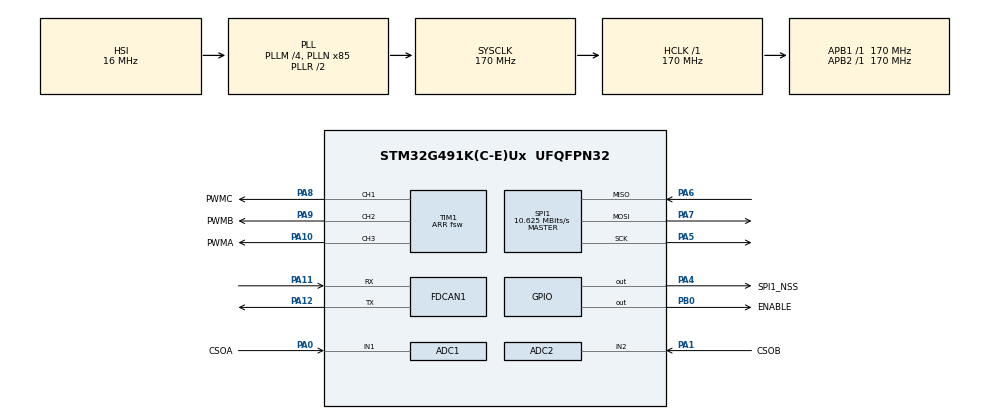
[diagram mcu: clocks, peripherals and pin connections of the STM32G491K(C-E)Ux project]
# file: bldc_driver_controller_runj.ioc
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ADC1.Channel-1\#ChannelRegularConversion=ADC_CHANNEL_1
ADC1.ContinuousConvMode=ENABLE
ADC1.DMAContinuousRequests=ENABLE
ADC1.NbrOfConversionFlag=1
ADC1.OffsetNumber-1\#ChannelRegularConversion=ADC_OFFSET_NONE
ADC1.Rank-1\#ChannelRegularConversion=1
ADC1.SamplingTime-1\#ChannelRegularConversion=ADC_SAMPLETIME_640CYCLES_5
ADC1.master=1
ADC2.Channel-1\#ChannelRegularConversion=ADC_CHANNEL_2
ADC2.ContinuousConvMode=ENABLE
ADC2.DMAContinuousRequests=ENABLE
ADC2.NbrOfConversionFlag=1
ADC2.OffsetNumber-1\#ChannelRegularConversion=ADC_OFFSET_NONE
ADC2.Rank-1\#ChannelRegularConversion=1
ADC2.SamplingTime-1\#ChannelRegularConversion=ADC_SAMPLETIME_640CYCLES_5
Dma.ADC1.0.Direction=DMA_PERIPH_TO_MEMORY
Dma.ADC1.0.EventEnable=DISABLE
Dma.ADC1.0.Instance=DMA1_Channel1
Dma.ADC1.0.MemDataAlignment=DMA_MDATAALIGN_HALFWORD
Dma.ADC1.0.MemInc=DMA_MINC_ENABLE
Dma.ADC1.0.Mode=DMA_CIRCULAR
Dma.ADC1.0.PeriphDataAlignment=DMA_PDATAALIGN_HALFWORD
Dma.ADC1.0.PeriphInc=DMA_PINC_DISABLE
Dma.ADC1.0.Polarity=HAL_DMAMUX_REQ_GEN_RISING
Dma.ADC1.0.Priority=DMA_PRIORITY_LOW
Dma.ADC1.0.RequestNumber=1
Dma.ADC1.0.SignalID=NONE
Dma.ADC1.0.SyncEnable=DISABLE
Dma.ADC1.0.SyncPolarity=HAL_DMAMUX_SYNC_NO_EVENT
Dma.ADC1.0.SyncRequestNumber=1
Dma.ADC1.0.SyncSignalID=NONE
Dma.ADC2.1.Direction=DMA_PERIPH_TO_MEMORY
Dma.ADC2.1.EventEnable=DISABLE
Dma.ADC2.1.Instance=DMA1_Channel2
Dma.ADC2.1.MemDataAlignment=DMA_MDATAALIGN_HALFWORD
Dma.ADC2.1.MemInc=DMA_MINC_ENABLE
Dma.ADC2.1.Mode=DMA_CIRCULAR
Dma.ADC2.1.PeriphDataAlignment=DMA_PDATAALIGN_HALFWORD
Dma.ADC2.1.PeriphInc=DMA_PINC_DISABLE
Dma.ADC2.1.Polarity=HAL_DMAMUX_REQ_GEN_RISING
Dma.ADC2.1.Priority=DMA_PRIORITY_LOW
Dma.ADC2.1.RequestNumber=1
Dma.ADC2.1.SignalID=NONE
Dma.ADC2.1.SyncEnable=DISABLE
Dma.ADC2.1.SyncPolarity=HAL_DMAMUX_SYNC_NO_EVENT
Dma.ADC2.1.SyncRequestNumber=1
Dma.ADC2.1.SyncSignalID=NONE
Dma.Request0=ADC1
Dma.Request1=ADC2
FDCAN1.CalculateBaudRateNominal=999999
FDCAN1.CalculateTimeQuantumNominal=11.764705882352942
FDCAN1.DataPrescaler=DataPS
FDCAN1.DataSyncJumpWidth=15
FDCAN1.DataTimeSeg1=18
FDCAN1.DataTimeSeg2=15
FDCAN1.NominalPrescaler=NomPS
FDCAN1.NominalSyncJumpWidth=11
FDCAN1.NominalTimeSeg1=73
FDCAN1.NominalTimeSeg2=11
FDCAN1.StdFiltersNbr=10
Mcu.Family=STM32G4
Mcu.Name=STM32G491K(C-E)Ux
Mcu.Package=UFQFPN32
Mcu.UserConstants=NomPS,2;DataPS500k,10;DataPS1M,5;NomPS500k,4;fsw,3600;fsw10kHz,9000;DataPS,5;fsw40kHz,2250;NomPS1M,2;fsw50kHz,1800;fsw25kHz,3600
NVIC.ADC1_2_IRQn=true\:0\:0\:false\:false\:true\:true\:true\:true
NVIC.DMA1_Channel1_IRQn=true\:0\:0\:false\:false\:true\:false\:true\:true
NVIC.DMA1_Channel2_IRQn=true\:0\:0\:false\:false\:true\:false\:true\:true
NVIC.FDCAN1_IT0_IRQn=true\:0\:0\:false\:false\:true\:true\:true\:true
NVIC.PriorityGroup=NVIC_PRIORITYGROUP_4
NVIC.TIM1_CC_IRQn=true\:0\:0\:false\:false\:true\:true\:true\:true
NVIC.TIM2_IRQn=true\:0\:0\:false\:false\:true\:true\:true\:true
PA0.GPIO_Label=CSOA
PA0.Mode=IN1-Single-Ended
PA0.Signal=ADC1_IN1
PA1.GPIO_Label=CSOB
PA1.Mode=IN2-Single-Ended
PA1.Signal=ADC2_IN2
PA10.GPIO_Label=PWMA
PA10.GPIO_Speed=GPIO_SPEED_FREQ_VERY_HIGH
PA10.Signal=S_TIM1_CH3
PA11.Mode=FDCAN_Activate
PA11.Signal=FDCAN1_RX
PA12.Mode=FDCAN_Activate
PA12.Signal=FDCAN1_TX
PA13.Mode=Serial_Wire
PA13.Signal=SYS_JTMS-SWDIO
PA14.Mode=Serial_Wire
PA14.Signal=SYS_JTCK-SWCLK
PA4.GPIO_Label=SPI1_NSS
PA4.Signal=GPIO_Output
PA5.GPIO_Speed=GPIO_SPEED_FREQ_HIGH
PA5.Mode=Full_Duplex_Master
PA5.Signal=SPI1_SCK
PA6.GPIO_Mode=GPIO_MODE_AF_PP
PA6.GPIO_Speed=GPIO_SPEED_FREQ_HIGH
PA6.Mode=Full_Duplex_Master
PA6.Signal=SPI1_MISO
PA7.GPIO_Speed=GPIO_SPEED_FREQ_HIGH
PA7.Mode=Full_Duplex_Master
PA7.Signal=SPI1_MOSI
PA8.GPIO_Label=PWMC
PA8.GPIO_Speed=GPIO_SPEED_FREQ_VERY_HIGH
PA8.Signal=S_TIM1_CH1
PA9.GPIO_Label=PWMB
PA9.GPIO_Speed=GPIO_SPEED_FREQ_VERY_HIGH
PA9.Signal=S_TIM1_CH2
PB0.GPIO_Label=ENABLE
PB0.Signal=GPIO_Output
PF0-OSC_IN.Mode=HSE-External-Oscillator
PF0-OSC_IN.Signal=RCC_OSC_IN
PF1-OSC_OUT.Mode=HSE-External-Oscillator
PF1-OSC_OUT.Signal=RCC_OSC_OUT
ProjectManager.HeapSize=0x200
ProjectManager.StackSize=0x400
ProjectManager.TargetToolchain=STM32CubeIDE
RCC.ADC12Freq_Value=170000000
RCC.ADC345Freq_Value=170000000
RCC.AHBFreq_Value=170000000
RCC.APB1Freq_Value=170000000
RCC.APB1TimFreq_Value=170000000
RCC.APB2Freq_Value=170000000
RCC.APB2TimFreq_Value=170000000
RCC.CortexFreq_Value=170000000
RCC.EXTERNAL_CLOCK_VALUE=12288000
RCC.HCLKFreq_Value=170000000
RCC.HSE_VALUE=8000000
RCC.HSI48_VALUE=48000000
RCC.HSI_VALUE=16000000
RCC.LSE_VALUE=32768
RCC.PLLM=RCC_PLLM_DIV4
RCC.PLLN=85
RCC.SYSCLKFreq_VALUE=170000000
RCC.SYSCLKSource=RCC_SYSCLKSOURCE_PLLCLK
RCC.USBFreq_Value=48000000
RCC.VCOOutputFreq_Value=340000000
SH.S_TIM1_CH1.0=TIM1_CH1,PWM Generation1 CH1
SH.S_TIM1_CH2.0=TIM1_CH2,PWM Generation2 CH2
SH.S_TIM1_CH3.0=TIM1_CH3,PWM Generation3 CH3
SPI1.BaudRatePrescaler=SPI_BAUDRATEPRESCALER_16
SPI1.CLKPhase=SPI_PHASE_2EDGE
SPI1.CLKPolarity=SPI_POLARITY_LOW
SPI1.CalculateBaudRate=10.625 MBits/s
SPI1.DataSize=SPI_DATASIZE_16BIT
SPI1.Direction=SPI_DIRECTION_2LINES
SPI1.Mode=SPI_MODE_MASTER
SPI1.VirtualType=VM_MASTER
TIM1.AutoReloadPreload=TIM_AUTORELOAD_PRELOAD_ENABLE
TIM1.Channel-Output\ Compare5\ No\ Output=TIM_CHANNEL_5
TIM1.Channel-PWM\ Generation1\ CH1=TIM_CHANNEL_1
TIM1.Channel-PWM\ Generation2\ CH2=TIM_CHANNEL_2
TIM1.Channel-PWM\ Generation3\ CH3=TIM_CHANNEL_3
TIM1.CounterMode=TIM_COUNTERMODE_CENTERALIGNED1
TIM1.OC5Preload=ENABLE
TIM1.OCFastMode_PWM-PWM\ Generation1\ CH1=TIM_OCFAST_ENABLE
TIM1.OCFastMode_PWM-PWM\ Generation2\ CH2=TIM_OCFAST_ENABLE
TIM1.OCFastMode_PWM-PWM\ Generation3\ CH3=TIM_OCFAST_ENABLE
TIM1.OCMode_5=TIM_OCMODE_TIMING
TIM1.OCPolarity_1=TIM_OCPOLARITY_LOW
TIM1.OCPolarity_2=TIM_OCPOLARITY_LOW
TIM1.OCPolarity_3=TIM_OCPOLARITY_LOW
TIM1.PeriodNoDither=fsw
TIM1.PulseNoDither_5=200
TIM1.RepetitionCounter=1
TIM1.TIM_MasterOutputTrigger2=TIM_TRGO2_OC5REF
TIM2.PeriodNoDither=1
TIM2.Prescaler=17000-1
VP_CORDIC_VS_CORDIC.Mode=CORDIC_Activate
VP_CRC_VS_CRC.Mode=CRC_Activate
VP_FMAC_VS_FMAC.Mode=FMAC_Activate
VP_SYS_VS_DBSignals.Mode=DisableDeadBatterySignals
VP_TIM1_VS_ClockSourceINT.Mode=Internal
VP_TIM1_VS_no_output5.Mode=Output Compare5 No Output
VP_TIM2_VS_ClockSourceINT.Mode=Internal
board=custom

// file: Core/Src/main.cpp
/* USER CODE BEGIN Header */
/**
  ******************************************************************************
  * @file           : main.c
  * @brief          : Main program body
  ******************************************************************************
  * @attention
  *
  * Copyright (c) 2024 STMicroelectronics.
  * All rights reserved.
  *
  * This software is licensed under terms that can be found in the LICENSE file
  * in the root directory of this software component.
  * If no LICENSE file comes with this software, it is provided AS-IS.
  *
  ******************************************************************************
  */
/* USER CODE END Header */
#include "main.h"

/* USER CODE BEGIN Includes */
#include <stdio.h>   // printf function
#include <stdlib.h>
#include <algorithm>
#include "math.h"
#include "cordic.h"
#include "string.h"
#include "motor_param.h"

#include "simpleFOC.h"
simpleFOC simpleFOC;

#include "can_fd.h"
#define motor_ID  1
can_fd CANFD(motor_ID);

struct MIT_Params {
    float P_min;               // Minimum position
    float P_max;               // Maximum position
    float V_min;               // Minimum velocity
    float V_max;               // Maximum velocity
    float T_min;               // Minimum torque
    float T_max;               // Maximum torque
    float Kp_min;              // Minimum proportional gain
    float Kp_max;              // Maximum proportional gain
    float Kd_min;              // Minimum derivative gain
    float Kd_max;              // Maximum derivative gain
    float Kt_TMotor;           // Torque constant (from TMotor website)
    float Current_Factor;      // Corrective factor for q-axis current
    float Kt_actual;           // Actual torque constant (calculated)
    float GEAR_RATIO;          // Gear ratio
};

MIT_Params BE8108 = {
    .P_min = -12.5f,
    .P_max = 12.5f,
    .V_min = -50.0f,
    .V_max = 50.0f,
    .T_min = -18.0f,
    .T_max = 18.0f,
    .Kp_min = 0.0f,
    .Kp_max = 500.0f,
    .Kd_min = 0.0f,
    .Kd_max = 5.0f,
    .Kt_TMotor = 0.091f,
    .Current_Factor = 0.59f,
    .Kt_actual = 0.115f,
    .GEAR_RATIO = 9.0f
};

/* USER CODE END Includes */

ADC_HandleTypeDef hadc1;
ADC_HandleTypeDef hadc2;
DMA_HandleTypeDef hdma_adc1;
DMA_HandleTypeDef hdma_adc2;

CORDIC_HandleTypeDef hcordic;

CRC_HandleTypeDef hcrc;

FDCAN_HandleTypeDef hfdcan1;

FMAC_HandleTypeDef hfmac;

SPI_HandleTypeDef hspi1;

TIM_HandleTypeDef htim1;
TIM_HandleTypeDef htim2;

void SystemClock_Config(void);
static void MX_GPIO_Init(void);
static void MX_DMA_Init(void);
static void MX_SPI1_Init(void);
static void MX_ADC1_Init(void);
static void MX_FDCAN1_Init(void);
static void MX_TIM1_Init(void);
static void MX_ADC2_Init(void);
//static void MX_CORDIC_Init(void);
static void MX_CRC_Init(void);
static void MX_FMAC_Init(void);
static void MX_TIM2_Init(void);
/* USER CODE BEGIN PFP */
__STATIC_INLINE void DWT_Init(void); 						//checked
__STATIC_INLINE uint32_t micros(void);						//checked

static float limit_value(float value, float min_value, float max_value);
static unsigned int float_to_uint(float x, float x_min, float x_max, int num_bits);
static float uint_to_float(unsigned int x, float x_min, float x_max, int num_bits);

void HAL_FDCAN_RxFifo0Callback(FDCAN_HandleTypeDef *hfdcan, uint32_t RxFifo0ITs);
void send_can_message(uint32_t message_id, uint8_t *data, uint8_t data_length);
void send_motor_states(float position_fb, float velocity_fb, float current_fb);

// Limit the value to be within min and max
static float limit_value(float value, float min_value, float max_value)
{
	return std::max(min_value, std::min(value, max_value));
}

static unsigned int float_to_uint(float x, float x_min, float x_max, int num_bits)
{
    float span = x_max - x_min;
    float bitratio = float((1 << num_bits) / span);

    // Clamp the value to ensure it is within range
    x = limit_value(x, x_min, x_max - (2.0f / bitratio));

    // Perform the conversion
    unsigned int result = static_cast<unsigned int>((x - x_min) * bitratio);

    // Ensure the result is within the unsigned integer range
    return limit_value(result, 0, static_cast<unsigned int>((x_max - x_min) * bitratio));
}

static float uint_to_float(unsigned int x, float x_min, float x_max, int num_bits)
{
    float span = x_max - x_min;

    // Perform the conversion
    return static_cast<float>(x) * span / ((1 << num_bits) - 1) + x_min;
}

float position_des, velocity_des, kp_des, kd_des, tau_des;
// Callback function for received messages
void HAL_FDCAN_RxFifo0Callback(FDCAN_HandleTypeDef *hfdcan, uint32_t RxFifo0ITs)
{
	FDCAN_RxHeaderTypeDef rxHeader;
    if ((RxFifo0ITs & FDCAN_IT_RX_FIFO0_NEW_MESSAGE) != 0)
    {
    	uint8_t rxData[8];
        // Retrieve the message from RX FIFO 0
        if (HAL_FDCAN_GetRxMessage(hfdcan, FDCAN_RX_FIFO0, &rxHeader, rxData) != HAL_OK)
        {
            Error_Handler();
        }

        // Recieved command from main controller
        if (rxHeader.Identifier == CANFD.motor_id)
        {
            for (int i = 0; i < rxHeader.DataLength; i++)
            {
            	CANFD.Data[i] = rxData[i];
            }
            unsigned int position_uint = (unsigned int)  CANFD.Data[0] << 8 | CANFD.Data[1];
            unsigned int velocity_uint = (unsigned int) ((CANFD.Data[2] << 8) | (CANFD.Data[3] >> 4) <<4 ) >> 4;
            unsigned int kp_uint       = (unsigned int) ((CANFD.Data[3] & 0x0F) << 8) | CANFD.Data[4];
            unsigned int kd_uint       = (unsigned int) ((CANFD.Data[5] << 8) | (CANFD.Data[6] >> 4) <<4 ) >> 4;
            unsigned int tau_uint      = (unsigned int) ((CANFD.Data[6] & 0x0F) << 8) | CANFD.Data[7];

            float position = (float) uint_to_float(position_uint, BE8108.P_min,  BE8108.P_max,  16);
            float velocity = (float) uint_to_float(velocity_uint, BE8108.V_min,  BE8108.V_max,  12);
            float kp       = (float) uint_to_float(kp_uint,       BE8108.Kp_min, BE8108.Kp_max, 12);
            float kd       = (float) uint_to_float(kd_uint,       BE8108.Kd_min, BE8108.Kd_max, 12);
            float tau      = (float) uint_to_float(tau_uint,      BE8108.T_min,  BE8108.T_max,  12);

            position_des = position;
            velocity_des = velocity;
            kp_des = kp;
            kd_des = kd;
            tau_des = tau;
        }

    }
    // Send the motor states feedback when motor has received command
    send_motor_states(simpleFOC.shaft_angle, simpleFOC.shaft_velocity, simpleFOC.current_LPF.q);

}

void send_can_message(uint32_t message_id, uint8_t *data, uint8_t data_length)
{
    FDCAN_TxHeaderTypeDef txHeader;
    HAL_StatusTypeDef status;

    // Configure the CAN message
    txHeader.Identifier = message_id;               // Set the CAN ID
    txHeader.IdType = FDCAN_STANDARD_ID;            // Standard 11-bit ID
    txHeader.TxFrameType = FDCAN_DATA_FRAME;        // Data frame
    txHeader.DataLength = FDCAN_DLC_BYTES_0 + data_length;      // Set data length (DLC)
    txHeader.ErrorStateIndicator = FDCAN_ESI_ACTIVE;
    txHeader.BitRateSwitch = FDCAN_BRS_OFF;         // No bitrate switch
    txHeader.FDFormat = FDCAN_CLASSIC_CAN;          // Classic CAN format
    txHeader.TxEventFifoControl = FDCAN_NO_TX_EVENTS;

    // Transmit the message
    status = HAL_FDCAN_AddMessageToTxFifoQ(&hfdcan1, &txHeader, data);
    if (status == HAL_OK)
    {
//        printf("CAN message sent: ID=0x%X\n", message_id);

    }
    else
    {
//        printf("Failed to send CAN message: %d\n", status);
    }
}

void send_motor_states(float position_fb, float velocity_fb, float current_fb)
{
	unsigned int position_fb_uint = float_to_uint(position_fb, BE8108.P_min,  BE8108.P_max, 16);
	unsigned int velocity_fb_uint = float_to_uint(velocity_fb, BE8108.V_min,  BE8108.V_max, 16);
	unsigned int current_fb_uint  = float_to_uint(current_fb,  BE8108.T_min,  BE8108.T_max, 16);

	uint8_t data[8] = {(uint8_t)(position_fb_uint >> 8 & 0xff),
					   (uint8_t)(position_fb_uint & 0x00ff),
					   (uint8_t)(velocity_fb_uint >> 8 & 0xff),
					   (uint8_t)(velocity_fb_uint & 0x00ff),
					   (uint8_t)(current_fb_uint >> 8 & 0xff),
					   (uint8_t)(current_fb_uint & 0x00ff),
					   0xff,
					   0xff};
	send_can_message(motor_ID, data, 8);
}

/* USER CODE END PFP */

/* USER CODE BEGIN 0 */
unsigned long t1 = 0, ts, te = 0, t3, t4 = 0, t5 = 0;
float loop_freq = 0;
float x_float;
float setpoint_cmd = 0.0;
int x_int;
struct DQCurrent_s dq_current_debug;
struct PhaseCurrent_s abc_current_debug;

/* USER CODE END 0 */

int main(void)
{

  /* MCU Configuration--------------------------------------------------------*/

  /* Reset of all peripherals, Initializes the Flash interface and the Systick. */
  HAL_Init();

  /* Configure the system clock */
  SystemClock_Config();

  /* Initialize all configured peripherals */
  MX_GPIO_Init();
  MX_DMA_Init();
  MX_SPI1_Init();
  MX_ADC1_Init();
  MX_FDCAN1_Init();
  MX_TIM1_Init();
  MX_ADC2_Init();
  MX_CORDIC_Init();
  MX_CRC_Init();
  MX_FMAC_Init();
  MX_TIM2_Init();
  /* USER CODE BEGIN 2 */

  //  Delay SETUP
	DWT_Init();
	//  Timer Interrupt tim2,tim4
	HAL_TIM_Base_Start_IT(&htim2);

	HAL_GPIO_WritePin(ENABLE_GPIO_Port, ENABLE_Pin, GPIO_PIN_SET);  // Enable
//	HAL_GPIO_WritePin(EN_GPIO_Port, EN_Pin, GPIO_PIN_RESET);  // Disable

	//SPI SETUP
	simpleFOC.initSensors();
	//FOC SETUP
	simpleFOC.initFOC(4.91525555, CW);
//	simpleFOC.initFOC(NOT_SET, UNKNOWN);

  // Configure FDCAN
    CANFD.Config();

  /* USER CODE END 2 */

  /* Infinite loop */
  /* USER CODE BEGIN WHILE */
    const uint32_t target_period_loopFOC = 100; // 125 µs for 8 kHz
    const uint32_t target_period_move_torque = 1000; // 1000 µs for 1 kHz
    uint32_t t_loopFOC_start = 0; // Timestamp for loopFOC
    uint32_t t_move_torque_start = 0; // Timestamp for move_torque
    ts = micros();
  while (1)
  {
	  uint32_t t_now = micros(); // Get the current time

	  /** Test CORDIC **/
//	  cordic_cos = cordic_q31_cosf(radian); // 40 us
//	  cordic_cos1 = _cos(radian);			// 15 us

	  /** Test Encoder	**/
//	  simpleFOC.readEncoderOnly();					// Test Read position [/]
//	  x_float = simpleFOC.Encoder.getShaftAngle();	// Test Read position [/]
//	  x_float = simpleFOC.Encoder.getSensorAngle();	// Test Read position + LPF [/]

	  /** Test Gate Drive	**/
//	  simpleFOC.driver.writeDutyCycle3PWM(0.2, 0.5, 0.8);  // Test Drive PWM for 3-phases [/]

	  /** Test Current Sensor **/
//	  abc_current_debug = simpleFOC.CurrentSensor.getPhaseCurrents();
//	  dq_current_debug = simpleFOC.CurrentSensor.getFOCCurrents();

	  /** Test Open Loop Control **/
//	  simpleFOC.move_velocity_openloop(setpoint_cmd); // Test move velocity open loop [/] : Should set phase resistance
//	  simpleFOC.angleOpenloop(setpoint_cmd);		  // Test move angle open loop [/] : Should set phase resistance

//	  if (t_now-ts > 5000000) setpoint_cmd = 1.0;

	    // ** Run move_torque at 1 kHz **
	    if ((t_now - t_move_torque_start) >= target_period_move_torque)
	    {
	        t_move_torque_start = t_now; 			// Update the move_torque timestamp

	        /** Test Closed Loop Control **/
	        // simpleFOC.move_torque(setpoint_cmd);		// 14 us (max)
//	        simpleFOC.move_velocity(setpoint_cmd);		// 21 us  (max change 0-80)maximum 100 rad/s --> 950 rpm
	        simpleFOC.move_angle(position_des, kp_des, kd_des, tau_des); // 26 us  a lot of noise in q,d current
	    }

	    // ** Run loopFOC at 8 kHz **
	    if ((t_now - t_loopFOC_start) >= target_period_loopFOC)
	    {
	        t_loopFOC_start = t_now; 				// Update the loopFOC timestamp
	        simpleFOC.loopFOC(); 					// Run FOC update
	    }

    /* USER CODE END WHILE */

    /* USER CODE BEGIN 3 */
	  t5 = micros() - t4;
	  t4 = micros();
	  loop_freq = 1.0 / (t5 * 1e-6);
  }
  /* USER CODE END 3 */
}

void SystemClock_Config(void)
{
  RCC_OscInitTypeDef RCC_OscInitStruct = {0};
  RCC_ClkInitTypeDef RCC_ClkInitStruct = {0};

  /** Configure the main internal regulator output voltage
  */
  HAL_PWREx_ControlVoltageScaling(PWR_REGULATOR_VOLTAGE_SCALE1_BOOST);

  /** Initializes the RCC Oscillators according to the specified parameters
  * in the RCC_OscInitTypeDef structure.
  */
  RCC_OscInitStruct.OscillatorType = RCC_OSCILLATORTYPE_HSI;
  RCC_OscInitStruct.HSIState = RCC_HSI_ON;
  RCC_OscInitStruct.HSICalibrationValue = RCC_HSICALIBRATION_DEFAULT;
  RCC_OscInitStruct.PLL.PLLState = RCC_PLL_ON;
  RCC_OscInitStruct.PLL.PLLSource = RCC_PLLSOURCE_HSI;
  RCC_OscInitStruct.PLL.PLLM = RCC_PLLM_DIV4;
  RCC_OscInitStruct.PLL.PLLN = 85;
  RCC_OscInitStruct.PLL.PLLP = RCC_PLLP_DIV2;
  RCC_OscInitStruct.PLL.PLLQ = RCC_PLLQ_DIV2;
  RCC_OscInitStruct.PLL.PLLR = RCC_PLLR_DIV2;
  if (HAL_RCC_OscConfig(&RCC_OscInitStruct) != HAL_OK)
  {
    Error_Handler();
  }

  /** Initializes the CPU, AHB and APB buses clocks
  */
  RCC_ClkInitStruct.ClockType = RCC_CLOCKTYPE_HCLK|RCC_CLOCKTYPE_SYSCLK
                              |RCC_CLOCKTYPE_PCLK1|RCC_CLOCKTYPE_PCLK2;
  RCC_ClkInitStruct.SYSCLKSource = RCC_SYSCLKSOURCE_PLLCLK;
  RCC_ClkInitStruct.AHBCLKDivider = RCC_SYSCLK_DIV1;
  RCC_ClkInitStruct.APB1CLKDivider = RCC_HCLK_DIV1;
  RCC_ClkInitStruct.APB2CLKDivider = RCC_HCLK_DIV1;

  if (HAL_RCC_ClockConfig(&RCC_ClkInitStruct, FLASH_LATENCY_4) != HAL_OK)
  {
    Error_Handler();
  }
}

static void MX_ADC1_Init(void)
{

  ADC_MultiModeTypeDef multimode = {0};
  ADC_ChannelConfTypeDef sConfig = {0};

  /** Common config
  */
  hadc1.Instance = ADC1;
  hadc1.Init.ClockPrescaler = ADC_CLOCK_SYNC_PCLK_DIV4;
  hadc1.Init.Resolution = ADC_RESOLUTION_12B;
  hadc1.Init.DataAlign = ADC_DATAALIGN_RIGHT;
  hadc1.Init.GainCompensation = 0;
  hadc1.Init.ScanConvMode = ADC_SCAN_DISABLE;
  hadc1.Init.EOCSelection = ADC_EOC_SINGLE_CONV;
  hadc1.Init.LowPowerAutoWait = DISABLE;
  hadc1.Init.ContinuousConvMode = ENABLE;
  hadc1.Init.NbrOfConversion = 1;
  hadc1.Init.DiscontinuousConvMode = DISABLE;

  hadc1.Init.ExternalTrigConv = ADC_SOFTWARE_START;
  hadc1.Init.ExternalTrigConvEdge = ADC_EXTERNALTRIGCONVEDGE_NONE;

//  hadc1.Init.ExternalTrigConvEdge = ADC_EXTERNALTRIGCONVEDGE_RISING;
//  hadc1.Init.ExternalTrigConv = ADC_EXTERNALTRIG_T1_TRGO2;		// Use TIM1 TRGO

  hadc1.Init.DMAContinuousRequests = ENABLE;
  hadc1.Init.Overrun = ADC_OVR_DATA_PRESERVED;
  hadc1.Init.OversamplingMode = DISABLE;
  if (HAL_ADC_Init(&hadc1) != HAL_OK)
  {
    Error_Handler();
  }

  /** Configure the ADC multi-mode
  */
  multimode.Mode = ADC_MODE_INDEPENDENT;
  if (HAL_ADCEx_MultiModeConfigChannel(&hadc1, &multimode) != HAL_OK)
  {
    Error_Handler();
  }

  /** Configure Regular Channel
  */
  sConfig.Channel = ADC_CHANNEL_1;
  sConfig.Rank = ADC_REGULAR_RANK_1;
  sConfig.SamplingTime = ADC_SAMPLETIME_640CYCLES_5;
  sConfig.SingleDiff = ADC_SINGLE_ENDED;
  sConfig.OffsetNumber = ADC_OFFSET_NONE;
  sConfig.Offset = 0;
  if (HAL_ADC_ConfigChannel(&hadc1, &sConfig) != HAL_OK)
  {
    Error_Handler();
  }

}

static void MX_ADC2_Init(void)
{

  ADC_ChannelConfTypeDef sConfig = {0};

  /** Common config
  */
  hadc2.Instance = ADC2;
  hadc2.Init.ClockPrescaler = ADC_CLOCK_SYNC_PCLK_DIV4;
  hadc2.Init.Resolution = ADC_RESOLUTION_12B;
  hadc2.Init.DataAlign = ADC_DATAALIGN_RIGHT;
  hadc2.Init.GainCompensation = 0;
  hadc2.Init.ScanConvMode = ADC_SCAN_DISABLE;
  hadc2.Init.EOCSelection = ADC_EOC_SINGLE_CONV;
  hadc2.Init.LowPowerAutoWait = DISABLE;
  hadc2.Init.ContinuousConvMode = ENABLE;
  hadc2.Init.NbrOfConversion = 1;
  hadc2.Init.DiscontinuousConvMode = DISABLE;
  hadc2.Init.ExternalTrigConv = ADC_SOFTWARE_START;
  hadc2.Init.ExternalTrigConvEdge = ADC_EXTERNALTRIGCONVEDGE_NONE;
  hadc2.Init.DMAContinuousRequests = ENABLE;
  hadc2.Init.Overrun = ADC_OVR_DATA_PRESERVED;
  hadc2.Init.OversamplingMode = DISABLE;
  if (HAL_ADC_Init(&hadc2) != HAL_OK)
  {
    Error_Handler();
  }

  /** Configure Regular Channel
  */
  sConfig.Channel = ADC_CHANNEL_2;
  sConfig.Rank = ADC_REGULAR_RANK_1;
  sConfig.SamplingTime = ADC_SAMPLETIME_640CYCLES_5;
  sConfig.SingleDiff = ADC_SINGLE_ENDED;
  sConfig.OffsetNumber = ADC_OFFSET_NONE;
  sConfig.Offset = 0;
  if (HAL_ADC_ConfigChannel(&hadc2, &sConfig) != HAL_OK)
  {
    Error_Handler();
  }

}

///**
//  * @brief CORDIC Initialization Function
//  * @param None
//  * @retval None
//  */
//void MX_CORDIC_Init(void)
//{
//
//  /* USER CODE BEGIN CORDIC_Init 0 */
//
//  /* USER CODE END CORDIC_Init 0 */
//
//  /* USER CODE BEGIN CORDIC_Init 1 */
//
//  /* USER CODE END CORDIC_Init 1 */
//  hcordic.Instance = CORDIC;
//  if (HAL_CORDIC_Init(&hcordic) != HAL_OK)
//  {
//    Error_Handler();
//  }
//  /* USER CODE BEGIN CORDIC_Init 2 */
//
//  /* USER CODE END CORDIC_Init 2 */
//
//}

static void MX_CRC_Init(void)
{

  hcrc.Instance = CRC;
  hcrc.Init.DefaultPolynomialUse = DEFAULT_POLYNOMIAL_ENABLE;
  hcrc.Init.DefaultInitValueUse = DEFAULT_INIT_VALUE_ENABLE;
  hcrc.Init.InputDataInversionMode = CRC_INPUTDATA_INVERSION_NONE;
  hcrc.Init.OutputDataInversionMode = CRC_OUTPUTDATA_INVERSION_DISABLE;
  hcrc.InputDataFormat = CRC_INPUTDATA_FORMAT_BYTES;
  if (HAL_CRC_Init(&hcrc) != HAL_OK)
  {
    Error_Handler();
  }

}

static void MX_FDCAN1_Init(void)
{

  hfdcan1.Instance = FDCAN1;
  hfdcan1.Init.ClockDivider = FDCAN_CLOCK_DIV1;
  hfdcan1.Init.FrameFormat = FDCAN_FRAME_CLASSIC;
  hfdcan1.Init.Mode = FDCAN_MODE_NORMAL;
  hfdcan1.Init.AutoRetransmission = DISABLE;
  hfdcan1.Init.TransmitPause = DISABLE;
  hfdcan1.Init.ProtocolException = DISABLE;
  hfdcan1.Init.NominalPrescaler = NomPS;
  hfdcan1.Init.NominalSyncJumpWidth = 11;
  hfdcan1.Init.NominalTimeSeg1 = 73;
  hfdcan1.Init.NominalTimeSeg2 = 11;
  hfdcan1.Init.DataPrescaler = DataPS;
  hfdcan1.Init.DataSyncJumpWidth = 15;
  hfdcan1.Init.DataTimeSeg1 = 18;
  hfdcan1.Init.DataTimeSeg2 = 15;
  hfdcan1.Init.StdFiltersNbr = 10;
  hfdcan1.Init.ExtFiltersNbr = 0;
  hfdcan1.Init.TxFifoQueueMode = FDCAN_TX_FIFO_OPERATION;
  if (HAL_FDCAN_Init(&hfdcan1) != HAL_OK)
  {
    Error_Handler();
  }

}

static void MX_FMAC_Init(void)
{

  hfmac.Instance = FMAC;
  if (HAL_FMAC_Init(&hfmac) != HAL_OK)
  {
    Error_Handler();
  }

}

static void MX_SPI1_Init(void)
{

  /* SPI1 parameter configuration*/
  hspi1.Instance = SPI1;
  hspi1.Init.Mode = SPI_MODE_MASTER;
  hspi1.Init.Direction = SPI_DIRECTION_2LINES;
  hspi1.Init.DataSize = SPI_DATASIZE_16BIT;
  hspi1.Init.CLKPolarity = SPI_POLARITY_LOW;
  hspi1.Init.CLKPhase = SPI_PHASE_2EDGE;
  hspi1.Init.NSS = SPI_NSS_SOFT;
  hspi1.Init.BaudRatePrescaler = SPI_BAUDRATEPRESCALER_16;
  hspi1.Init.FirstBit = SPI_FIRSTBIT_MSB;
  hspi1.Init.TIMode = SPI_TIMODE_DISABLE;
  hspi1.Init.CRCCalculation = SPI_CRCCALCULATION_DISABLE;
  hspi1.Init.CRCPolynomial = 7;
  hspi1.Init.CRCLength = SPI_CRC_LENGTH_DATASIZE;
  hspi1.Init.NSSPMode = SPI_NSS_PULSE_DISABLE;
  if (HAL_SPI_Init(&hspi1) != HAL_OK)
  {
    Error_Handler();
  }

}

static void MX_TIM1_Init(void)
{

  TIM_ClockConfigTypeDef sClockSourceConfig = {0};
  TIM_MasterConfigTypeDef sMasterConfig = {0};
  TIM_OC_InitTypeDef sConfigOC = {0};
  TIM_BreakDeadTimeConfigTypeDef sBreakDeadTimeConfig = {0};

  htim1.Instance = TIM1;
  htim1.Init.Prescaler = 0;
  htim1.Init.CounterMode = TIM_COUNTERMODE_CENTERALIGNED1;
  htim1.Init.Period = 3600;
  htim1.Init.ClockDivision = TIM_CLOCKDIVISION_DIV1;
  htim1.Init.RepetitionCounter = 1;
  htim1.Init.AutoReloadPreload = TIM_AUTORELOAD_PRELOAD_ENABLE;
  if (HAL_TIM_Base_Init(&htim1) != HAL_OK)
  {
    Error_Handler();
  }
  sClockSourceConfig.ClockSource = TIM_CLOCKSOURCE_INTERNAL;
  if (HAL_TIM_ConfigClockSource(&htim1, &sClockSourceConfig) != HAL_OK)
  {
    Error_Handler();
  }
  if (HAL_TIM_PWM_Init(&htim1) != HAL_OK)
  {
    Error_Handler();
  }
  if (HAL_TIM_OC_Init(&htim1) != HAL_OK)
  {
    Error_Handler();
  }
  sMasterConfig.MasterOutputTrigger = TIM_TRGO_RESET;
  sMasterConfig.MasterOutputTrigger2 = TIM_TRGO2_OC5REF;
  sMasterConfig.MasterSlaveMode = TIM_MASTERSLAVEMODE_DISABLE;
  if (HAL_TIMEx_MasterConfigSynchronization(&htim1, &sMasterConfig) != HAL_OK)
  {
    Error_Handler();
  }
  sConfigOC.OCMode = TIM_OCMODE_PWM1;
  sConfigOC.Pulse = 0;
  sConfigOC.OCPolarity = TIM_OCPOLARITY_LOW;
  sConfigOC.OCNPolarity = TIM_OCNPOLARITY_HIGH;
  sConfigOC.OCFastMode = TIM_OCFAST_ENABLE;
  sConfigOC.OCIdleState = TIM_OCIDLESTATE_RESET;
  sConfigOC.OCNIdleState = TIM_OCNIDLESTATE_RESET;
  if (HAL_TIM_PWM_ConfigChannel(&htim1, &sConfigOC, TIM_CHANNEL_1) != HAL_OK)
  {
    Error_Handler();
  }
  if (HAL_TIM_PWM_ConfigChannel(&htim1, &sConfigOC, TIM_CHANNEL_2) != HAL_OK)
  {
    Error_Handler();
  }
  if (HAL_TIM_PWM_ConfigChannel(&htim1, &sConfigOC, TIM_CHANNEL_3) != HAL_OK)
  {
    Error_Handler();
  }

  // =================================================================================

  // =================================================================================
  sBreakDeadTimeConfig.OffStateRunMode = TIM_OSSR_DISABLE;
  sBreakDeadTimeConfig.OffStateIDLEMode = TIM_OSSI_DISABLE;
  sBreakDeadTimeConfig.LockLevel = TIM_LOCKLEVEL_OFF;
  sBreakDeadTimeConfig.DeadTime = 0;
  sBreakDeadTimeConfig.BreakState = TIM_BREAK_DISABLE;
  sBreakDeadTimeConfig.BreakPolarity = TIM_BREAKPOLARITY_HIGH;
  sBreakDeadTimeConfig.BreakFilter = 0;
  sBreakDeadTimeConfig.BreakAFMode = TIM_BREAK_AFMODE_INPUT;
  sBreakDeadTimeConfig.Break2State = TIM_BREAK2_DISABLE;
  sBreakDeadTimeConfig.Break2Polarity = TIM_BREAK2POLARITY_HIGH;
  sBreakDeadTimeConfig.Break2Filter = 0;
  sBreakDeadTimeConfig.Break2AFMode = TIM_BREAK_AFMODE_INPUT;
  sBreakDeadTimeConfig.AutomaticOutput = TIM_AUTOMATICOUTPUT_DISABLE;
  if (HAL_TIMEx_ConfigBreakDeadTime(&htim1, &sBreakDeadTimeConfig) != HAL_OK)
  {
    Error_Handler();
  }
  // =================================================================================
  HAL_TIM_MspPostInit(&htim1);

}

static void MX_TIM2_Init(void)
{

  TIM_ClockConfigTypeDef sClockSourceConfig = {0};
  TIM_MasterConfigTypeDef sMasterConfig = {0};

  htim2.Instance = TIM2;
  htim2.Init.Prescaler = 1700-1;
  htim2.Init.CounterMode = TIM_COUNTERMODE_UP;
  htim2.Init.Period = 100-1;
  htim2.Init.ClockDivision = TIM_CLOCKDIVISION_DIV1;
  htim2.Init.AutoReloadPreload = TIM_AUTORELOAD_PRELOAD_DISABLE;
  if (HAL_TIM_Base_Init(&htim2) != HAL_OK)
  {
    Error_Handler();
  }
  sClockSourceConfig.ClockSource = TIM_CLOCKSOURCE_INTERNAL;
  if (HAL_TIM_ConfigClockSource(&htim2, &sClockSourceConfig) != HAL_OK)
  {
    Error_Handler();
  }
  sMasterConfig.MasterOutputTrigger = TIM_TRGO_RESET;
  sMasterConfig.MasterSlaveMode = TIM_MASTERSLAVEMODE_DISABLE;
  if (HAL_TIMEx_MasterConfigSynchronization(&htim2, &sMasterConfig) != HAL_OK)
  {
    Error_Handler();
  }

}

static void MX_DMA_Init(void)
{

  /* DMA controller clock enable */
  __HAL_RCC_DMAMUX1_CLK_ENABLE();
  __HAL_RCC_DMA1_CLK_ENABLE();

  hdma_adc1.Instance = DMA1_Channel1;
  hdma_adc1.Init.Request = DMA_REQUEST_ADC1;
  hdma_adc1.Init.Direction = DMA_PERIPH_TO_MEMORY;
  hdma_adc1.Init.PeriphInc = DMA_PINC_DISABLE;
  hdma_adc1.Init.MemInc = DMA_MINC_ENABLE;
  hdma_adc1.Init.PeriphDataAlignment = DMA_PDATAALIGN_WORD;
  hdma_adc1.Init.MemDataAlignment = DMA_MDATAALIGN_WORD;
  hdma_adc1.Init.Mode = DMA_CIRCULAR;
  hdma_adc1.Init.Priority = DMA_PRIORITY_HIGH;
  if (HAL_DMA_Init(&hdma_adc1) != HAL_OK)
  {
      Error_Handler();
  }
  __HAL_LINKDMA(&hadc1, DMA_Handle, hdma_adc1);

  /* DMA interrupt init */
  /* DMA1_Channel1_IRQn interrupt configuration --> ADC_1 */
  HAL_NVIC_SetPriority(DMA1_Channel1_IRQn, 0, 0);
  HAL_NVIC_EnableIRQ(DMA1_Channel1_IRQn);

  /* DMA1_Channel2_IRQn interrupt configuration --> ADC_2*/
  HAL_NVIC_SetPriority(DMA1_Channel2_IRQn, 0, 0);
  HAL_NVIC_EnableIRQ(DMA1_Channel2_IRQn);

}

void DMA1_Channel1_IRQHandler(void)
{
    HAL_DMA_IRQHandler(&hdma_adc1);
}

static void MX_GPIO_Init(void)
{
  GPIO_InitTypeDef GPIO_InitStruct = {0};

  /* GPIO Ports Clock Enable */
  __HAL_RCC_GPIOF_CLK_ENABLE();
  __HAL_RCC_GPIOA_CLK_ENABLE();
  __HAL_RCC_GPIOB_CLK_ENABLE();

  /*Configure GPIO pin Output Level */
  HAL_GPIO_WritePin(SPI1_NSS_GPIO_Port, SPI1_NSS_Pin, GPIO_PIN_RESET);

  /*Configure GPIO pin Output Level */
  HAL_GPIO_WritePin(ENABLE_GPIO_Port, ENABLE_Pin, GPIO_PIN_RESET);

  /*Configure GPIO pin : SPI1_NSS_Pin */
  GPIO_InitStruct.Pin = SPI1_NSS_Pin;
  GPIO_InitStruct.Mode = GPIO_MODE_OUTPUT_PP;
  GPIO_InitStruct.Pull = GPIO_NOPULL;
  GPIO_InitStruct.Speed = GPIO_SPEED_FREQ_LOW;
  HAL_GPIO_Init(SPI1_NSS_GPIO_Port, &GPIO_InitStruct);

  /*Configure GPIO pin : ENABLE_Pin */
  GPIO_InitStruct.Pin = ENABLE_Pin;
  GPIO_InitStruct.Mode = GPIO_MODE_OUTPUT_PP;
  GPIO_InitStruct.Pull = GPIO_NOPULL;
  GPIO_InitStruct.Speed = GPIO_SPEED_FREQ_LOW;
  HAL_GPIO_Init(ENABLE_GPIO_Port, &GPIO_InitStruct);

}

/* USER CODE BEGIN 4 */
//Delay function
__STATIC_INLINE void DWT_Init(void) {
	CoreDebug->DEMCR |= CoreDebug_DEMCR_TRCENA_Msk;
	DWT->CTRL |= DWT_CTRL_CYCCNTENA_Msk;  // Data watchpoint trigger(DWT)
}
__STATIC_INLINE uint32_t micros(void) {
	return DWT->CYCCNT / (SystemCoreClock / 1000000U);
}

void HAL_TIM_PeriodElapsedCallback(TIM_HandleTypeDef *htim)
{
  if(htim->Instance == TIM2) // 1000 Hz timer interrupt event
  {
	  CANFD.test = true;
	  simpleFOC.Encoder.updateVelocity();
  }
}

/* USER CODE END 4 */

void Error_Handler(void)
{
  __disable_irq();
  while (1)
  {
  }
}
